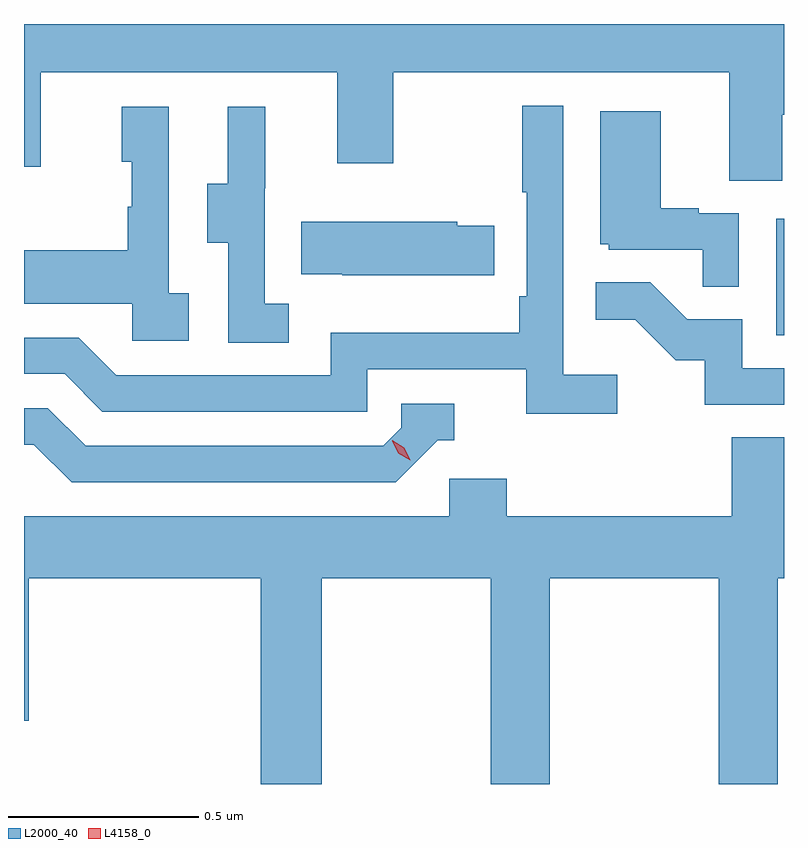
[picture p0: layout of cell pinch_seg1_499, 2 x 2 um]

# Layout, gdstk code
import gdstk
lib = gdstk.Library(unit=1e-6, precision=1e-09)
def R(c, l, rs):  # rectangles x0, y0, x1, y1
    for r in rs: c.add(gdstk.rectangle(r[:2], r[2:], *l))
def P(c, l, *ps):  # polygons
    for p in ps: c.add(gdstk.Polygon(p, *l))
L2000_40 = (2000, 40)
L4158_0 = (4158, 0)

pinch_seg1_499 = lib.new_cell('pinch_seg1_499')
R(pinch_seg1_499, L2000_40, [(1090.214,541.716,1090.235,542.023)])
P(pinch_seg1_499, L2000_40, [(1090.231,542.296),(1090.235,542.296),(1090.235,542.535),(1088.235,542.535),(1088.235,542.16),(1088.279,542.16),(1088.279,542.408),(1089.059,542.408),(1089.059,542.169),(1089.207,542.169),(1089.207,542.408),(1090.091,542.408),(1090.091,542.122),(1090.231,542.122)],
  [(1089.796,541.612),(1089.654,541.612),(1089.654,542.32),(1089.546,542.32),(1089.546,542.092),(1089.558,542.092),(1089.558,541.819),(1089.538,541.819),(1089.538,541.723),(1089.042,541.723),(1089.042,541.611),(1088.478,541.611),(1088.379,541.71),(1088.235,541.71),(1088.235,541.614),(1088.342,541.614),(1088.441,541.515),(1089.138,541.515),(1089.138,541.626),(1089.557,541.626),(1089.557,541.51),(1089.796,541.51)],
  [(1088.932,541.799),(1088.868,541.799),(1088.868,542.103),(1088.87,542.103),(1088.87,542.317),(1088.771,542.317),(1088.771,542.115),(1088.717,542.115),(1088.717,541.96),(1088.772,541.96),(1088.772,541.696),(1088.932,541.696)],
  [(1088.668,541.826),(1088.616,541.826),(1088.616,542.317),(1088.492,542.317),(1088.492,542.172),(1088.518,542.172),(1088.518,542.054),(1088.508,542.054),(1088.508,541.939),(1088.235,541.939),(1088.235,541.799),(1088.52,541.799),(1088.52,541.701),(1088.668,541.701)],
  [(1090.116,542.037),(1090.01,542.037),(1090.01,542.05),(1089.91,542.05),(1089.91,542.305),(1089.752,542.305),(1089.752,541.956),(1089.774,541.956),(1089.774,541.941),(1090.021,541.941),(1090.021,541.843),(1090.116,541.843)],
  [(1089.473,542.004),(1089.375,542.004),(1089.375,542.014),(1088.965,542.014),(1088.965,541.877),(1089.073,541.877),(1089.073,541.874),(1089.473,541.874)],
  [(1090.235,541.629),(1090.125,541.629),(1090.125,541.758),(1089.981,541.758),(1089.883,541.856),(1089.739,541.856),(1089.739,541.757),(1089.843,541.757),(1089.95,541.65),(1090.027,541.65),(1090.027,541.533),(1090.235,541.533)],
  [(1089.324,541.44),(1089.367,541.44),(1089.367,541.536),(1089.228,541.536),(1089.228,541.473),(1089.18,541.425),(1088.397,541.425),(1088.298,541.524),(1088.235,541.524),(1088.235,541.428),(1088.261,541.428),(1088.36,541.329),(1089.213,541.329)],
  [(1089.018,541.076),(1089.463,541.076),(1089.463,540.535),(1089.618,540.535),(1089.618,541.076),(1090.063,541.076),(1090.063,540.535),(1090.218,540.535),(1090.218,541.076),(1090.235,541.076),(1090.235,541.448),(1090.097,541.448),(1090.097,541.24),(1089.506,541.24),(1089.506,541.338),(1089.354,541.338),(1089.354,541.24),(1088.235,541.24),(1088.235,540.702),(1088.248,540.702),(1088.248,541.076),(1088.858,541.076),(1088.858,540.535),(1089.018,540.535)])
P(pinch_seg1_499, L4158_0, [(1089.251,541.387),(1089.22,541.406),(1089.204,541.438),(1089.204,541.439),(1089.204,541.439),(1089.235,541.42),(1089.252,541.387),(1089.252,541.387)])

lib.write_gds('pinch_seg1_499.gds')
